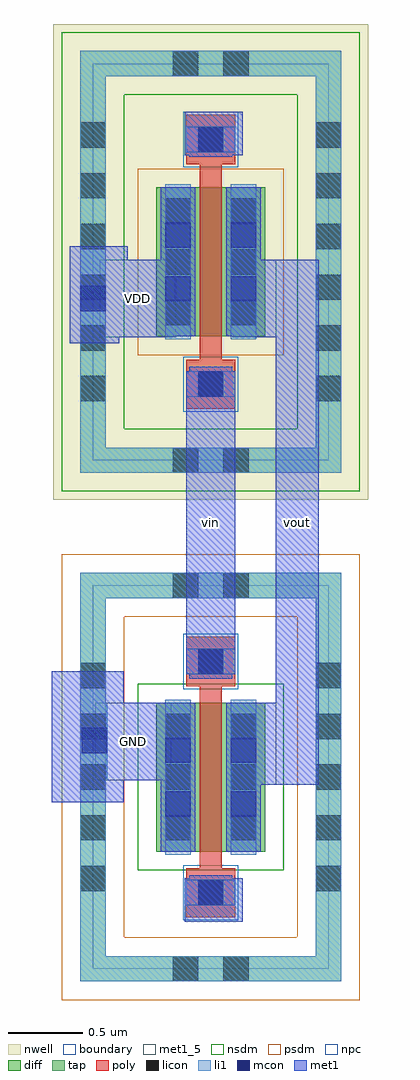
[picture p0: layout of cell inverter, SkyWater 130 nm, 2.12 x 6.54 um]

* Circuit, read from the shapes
.subckt inverter GND VDD vin vout
XM1 vout vin GND GND sky130_fd_pr__nfet_01v8 w=1 l=0.15
XM2 vout vin VDD VDD sky130_fd_pr__pfet_01v8 w=1 l=0.15
.ends

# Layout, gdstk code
import gdstk
lib = gdstk.Library(unit=1e-6, precision=1e-09)
def R(c, l, rs):  # rectangles x0, y0, x1, y1
    for r in rs: c.add(gdstk.rectangle(r[:2], r[2:], *l))
def A(c, l, x, y, w, h, nx, ny, dx, dy):  # array of equal rectangles
    R(c, l, [(x+i*dx, y+j*dy, x+i*dx+w, y+j*dy+h) for i in range(nx) for j in range(ny)])
nwell = (64, 20)
diff = (65, 20)
tap = (65, 44)
poly = (66, 20)
licon = (66, 44)
li1 = (67, 20)
mcon = (67, 44)
met1_5 = (68, 5)
met1 = (68, 20)
nsdm = (93, 44)
psdm = (94, 20)
npc = (95, 20)
boundary = (235, 4)

sky130_fd_pr__nfet_01v8_ = lib.new_cell('sky130_fd_pr__nfet_01v8_34VMYE')
R(sky130_fd_pr__nfet_01v8_, diff, [(-0.365,-0.5,0.365,0.5)])
R(sky130_fd_pr__nfet_01v8_, tap, [(-0.875,-1.37,0.875,-1.2), (-0.875,-1.2,-0.705,1.2), (0.705,-1.2,0.875,1.2), (-0.875,1.2,0.875,1.37)])
R(sky130_fd_pr__nfet_01v8_, poly, [(-0.165,-0.94,0.165,-0.61), (-0.075,-0.61,0.075,0.61), (-0.165,0.61,0.165,0.94)])
A(sky130_fd_pr__nfet_01v8_, licon, -0.875, -0.765, 0.17, 0.17, 1, 5, 0, 0.34)
A(sky130_fd_pr__nfet_01v8_, licon, 0.705, -0.765, 0.17, 0.17, 1, 5, 0, 0.34)
A(sky130_fd_pr__nfet_01v8_, licon, -0.305, -0.425, 0.17, 0.17, 1, 3, 0, 0.34)
A(sky130_fd_pr__nfet_01v8_, licon, 0.135, -0.425, 0.17, 0.17, 1, 3, 0, 0.34)
R(sky130_fd_pr__nfet_01v8_, licon, [(-0.255,-1.37,-0.085,-1.2), (0.085,-1.37,0.255,-1.2), (-0.085,-0.86,0.085,-0.69), (-0.085,0.69,0.085,0.86), (-0.255,1.2,-0.085,1.37), (0.085,1.2,0.255,1.37)])
R(sky130_fd_pr__nfet_01v8_, li1, [(-0.875,-1.37,0.875,-1.2), (-0.875,-1.2,-0.705,1.2), (0.705,-1.2,0.875,1.2), (-0.165,-0.86,0.165,-0.69), (-0.305,-0.52,-0.135,0.52), (0.135,-0.52,0.305,0.52), (-0.165,0.69,0.165,0.86), (-0.875,1.2,0.875,1.37)])
R(sky130_fd_pr__nfet_01v8_, mcon, [(-0.085,-0.86,0.085,-0.69), (-0.305,-0.265,-0.135,-0.095), (0.135,-0.265,0.305,-0.095), (-0.305,0.095,-0.135,0.265), (0.135,0.095,0.305,0.265), (-0.085,0.69,0.085,0.86)])
R(sky130_fd_pr__nfet_01v8_, met1, [(-0.145,-0.89,0.145,-0.66), (-0.335,-0.5,-0.105,0.5), (0.105,-0.5,0.335,0.5), (-0.145,0.66,0.145,0.89)])
R(sky130_fd_pr__nfet_01v8_, nsdm, [(-0.49,-0.625,0.49,0.625)])
R(sky130_fd_pr__nfet_01v8_, psdm, [(-1,-1.495,1,-1.075), (-1,-1.075,-0.58,1.075), (0.58,-1.075,1,1.075), (-1,1.075,1,1.495)])
R(sky130_fd_pr__nfet_01v8_, npc, [(-0.185,-0.96,0.185,-0.59), (-0.185,0.59,0.185,0.96)])
R(sky130_fd_pr__nfet_01v8_, boundary, [(-0.79,-1.285,0.79,1.285)])
sky130_fd_pr__nfet_01v8_.add(gdstk.Label('B', (0,-1.285), layer=67, texttype=5))
sky130_fd_pr__nfet_01v8_.add(gdstk.Label('D', (-0.22,0), layer=67, texttype=5))
sky130_fd_pr__nfet_01v8_.add(gdstk.Label('S', (0.22,0), layer=67, texttype=5))
sky130_fd_pr__nfet_01v8_.add(gdstk.Label('G', (0,0.775), layer=67, texttype=5))

sky130_fd_pr__pfet_01v8_ = lib.new_cell('sky130_fd_pr__pfet_01v8_7HN6Y2')
R(sky130_fd_pr__pfet_01v8_, nwell, [(-1.055,-1.595,1.055,1.595)])
R(sky130_fd_pr__pfet_01v8_, diff, [(-0.365,-0.5,0.365,0.5)])
R(sky130_fd_pr__pfet_01v8_, tap, [(-0.875,-1.415,0.875,-1.245), (-0.875,-1.245,-0.705,1.245), (0.705,-1.245,0.875,1.245), (-0.875,1.245,0.875,1.415)])
R(sky130_fd_pr__pfet_01v8_, poly, [(-0.165,-0.985,0.165,-0.655), (-0.075,-0.655,0.075,0.655), (-0.165,0.655,0.165,0.985)])
A(sky130_fd_pr__pfet_01v8_, licon, -0.875, -0.935, 0.17, 0.17, 1, 6, 0, 0.34)
A(sky130_fd_pr__pfet_01v8_, licon, 0.705, -0.935, 0.17, 0.17, 1, 6, 0, 0.34)
A(sky130_fd_pr__pfet_01v8_, licon, -0.305, -0.425, 0.17, 0.17, 1, 3, 0, 0.34)
A(sky130_fd_pr__pfet_01v8_, licon, 0.135, -0.425, 0.17, 0.17, 1, 3, 0, 0.34)
R(sky130_fd_pr__pfet_01v8_, licon, [(-0.255,-1.415,-0.085,-1.245), (0.085,-1.415,0.255,-1.245), (-0.085,-0.905,0.085,-0.735), (-0.085,0.735,0.085,0.905), (-0.255,1.245,-0.085,1.415), (0.085,1.245,0.255,1.415)])
R(sky130_fd_pr__pfet_01v8_, li1, [(-0.875,-1.415,0.875,-1.245), (-0.875,-1.245,-0.705,1.245), (0.705,-1.245,0.875,1.245), (-0.165,-0.905,0.165,-0.735), (-0.305,-0.52,-0.135,0.52), (0.135,-0.52,0.305,0.52), (-0.165,0.735,0.165,0.905), (-0.875,1.245,0.875,1.415)])
R(sky130_fd_pr__pfet_01v8_, mcon, [(-0.085,-0.905,0.085,-0.735), (-0.305,-0.265,-0.135,-0.095), (0.135,-0.265,0.305,-0.095), (-0.305,0.095,-0.135,0.265), (0.135,0.095,0.305,0.265), (-0.085,0.735,0.085,0.905)])
R(sky130_fd_pr__pfet_01v8_, met1, [(-0.145,-0.935,0.145,-0.705), (-0.335,-0.5,-0.105,0.5), (0.105,-0.5,0.335,0.5), (-0.145,0.705,0.145,0.935)])
R(sky130_fd_pr__pfet_01v8_, nsdm, [(-1,-1.54,1,-1.12), (-1,-1.12,-0.58,1.12), (0.58,-1.12,1,1.12), (-1,1.12,1,1.54)])
R(sky130_fd_pr__pfet_01v8_, psdm, [(-0.49,-0.625,0.49,0.625)])
R(sky130_fd_pr__pfet_01v8_, npc, [(-0.185,-1.005,0.185,-0.635), (-0.185,0.635,0.185,1.005)])
R(sky130_fd_pr__pfet_01v8_, boundary, [(-0.79,-1.33,0.79,1.33)])
sky130_fd_pr__pfet_01v8_.add(gdstk.Label('B', (0,-1.33), layer=67, texttype=5))
sky130_fd_pr__pfet_01v8_.add(gdstk.Label('D', (-0.22,0), layer=67, texttype=5))
sky130_fd_pr__pfet_01v8_.add(gdstk.Label('S', (0.22,0), layer=67, texttype=5))
sky130_fd_pr__pfet_01v8_.add(gdstk.Label('G', (0,0.82), layer=67, texttype=5))

inverter = lib.new_cell('inverter')
R(inverter, li1, [(2.7,-3.44,2.87,-2.93), (2.69,-0.48,2.86,0.04)])
R(inverter, mcon, [(2.7,-3.27,2.87,-3.1), (2.69,-0.305,2.86,-0.135)])
R(inverter, met1_5, [(4,-3.48,4.29,0.04), (2.79,-3.45,3.3,-2.93), (3.4,-2.74,3.73,-0.71), (2.82,-0.48,3.33,0.04)])
R(inverter, met1, [(3.39,-4.4,3.78,-4.11), (2.5,-3.6,2.98,-3.45), (3.84,-3.48,4.29,-3.45), (2.5,-3.45,3.3,-2.93), (3.83,-3.45,4.29,-2.93), (2.5,-2.93,2.98,-2.72), (4,-2.93,4.29,-0.48), (3.4,-2.74,3.73,-0.71), (2.62,-0.52,2.95,-0.48), (2.62,-0.48,3.33,0.04), (3.71,-0.48,4.29,0.04), (2.62,0.04,3.01,0.13), (3.39,0.74,3.78,1.03)])
inverter.add(gdstk.Reference(sky130_fd_pr__nfet_01v8_, (3.565,-3.43)))
inverter.add(gdstk.Reference(sky130_fd_pr__pfet_01v8_, (3.565,0.025)))
inverter.add(gdstk.Label('vin', (3.565,-1.725), layer=68, texttype=5))
inverter.add(gdstk.Label('vout', (4.145,-1.72), layer=68, texttype=5))
inverter.add(gdstk.Label('GND', (3.045,-3.19), layer=68, texttype=5))
inverter.add(gdstk.Label('VDD', (3.075,-0.22), layer=68, texttype=5))

lib.write_gds('inverter.gds')
